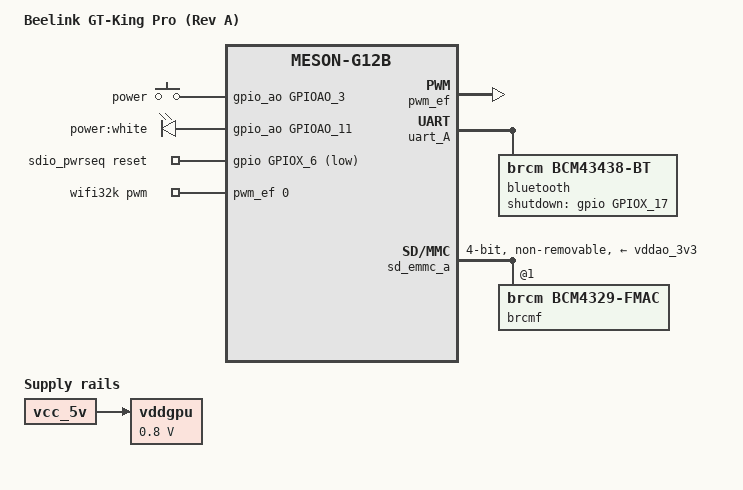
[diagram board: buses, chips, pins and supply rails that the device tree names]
// SPDX-License-Identifier: (GPL-2.0+ OR MIT)
/*
 * Copyright (c) 2019 BayLibre, SAS
 * Author: Neil Armstrong <narmstrong@baylibre.com>
 */

/dts-v1/;

/* 
 *  The Beelink GT-King Pro Rev A(HW Version: SA9H) is not base on w400 board, 
 *  but it is closer to the circuit design of Hardkernel ODroid N2
 */

#include "meson-g12b-s922x.dtsi"
#include "meson-g12b-odroid-n2.dtsi"

/ {
	compatible = "azw,gtking", "amlogic,s922x", "amlogic,g12b";
	model = "Beelink GT-King Pro (Rev A)";

	gpio-keys-polled {
		compatible = "gpio-keys-polled";
		#address-cells = <1>;
		#size-cells = <0>;
		poll-interval = <100>;

		power-button {
			label = "power";
			linux,code = <KEY_POWER>;
			/* Just for test, because i don't konwn the turely GPIO of the REV A board */
			gpios = <&gpio_ao GPIOAO_3 GPIO_ACTIVE_HIGH>;
		};
	};

	leds {
		compatible = "gpio-leds";

		/delete-node/ led-blue;
		led-white {
			label = "power:white";
			gpios = <&gpio_ao GPIOAO_11 GPIO_ACTIVE_HIGH>;
			default-state = "on";
		};
	};

	sound {
		model = "GTKINGPRO";
	};

	/delete-node/ gpio-regulator-tf_io;

	sdio_pwrseq: sdio-pwrseq {
		compatible = "mmc-pwrseq-simple";
		reset-gpios = <&gpio GPIOX_6 GPIO_ACTIVE_LOW>;
		clocks = <&wifi32k>;
		clock-names = "ext_clock";
	};

	wifi32k: wifi32k {
		compatible = "pwm-clock";
		#clock-cells = <0>;
		clock-frequency = <32768>;
		pwms = <&pwm_ef 0 30518 0>; /* PWM_E at 32.768KHz */
	};

        vddgpu: regulator-vddgpu {
                compatible = "regulator-fixed";
                regulator-name = "mali";
                regulator-min-microvolt = <800000>;
                regulator-max-microvolt = <800000>;
                vin-supply = <&vcc_5v>;
                regulator-boot-on;
                regulator-always-on;
        };
};

&mali {
        mali-supply=<&vddgpu>;
};

&pwm_ef {
	pinctrl-0 = <&pwm_e_pins>;
	pinctrl-names = "default";
	clocks = <&xtal>;
	clock-names = "clkin0";
	status = "okay";
};

&uart_A {
	status = "okay";
	pinctrl-0 = <&uart_a_pins>, <&uart_a_cts_rts_pins>;
	pinctrl-names = "default";
	uart-has-rtscts;

	bluetooth {
		compatible = "brcm,bcm43438-bt";
		shutdown-gpios = <&gpio GPIOX_17 GPIO_ACTIVE_HIGH>;
		max-speed = <2000000>;
		clocks = <&wifi32k>;
		clock-names = "lpo";
	};
};

/* SDIO */
&sd_emmc_a {
	status = "okay";
	pinctrl-0 = <&sdio_pins>;
	pinctrl-1 = <&sdio_clk_gate_pins>;
	pinctrl-names = "default", "clk-gate";
	#address-cells = <1>;
	#size-cells = <0>;

	bus-width = <4>;
	cap-sd-highspeed;
        sd-uhs-sdr50;
	max-frequency = <100000000>;

	/* WiFi firmware requires power to be kept while in suspend */
	keep-power-in-suspend;

	non-removable;
	disable-wp;

	mmc-pwrseq = <&sdio_pwrseq>;

	vmmc-supply = <&vddao_3v3>;
	vqmmc-supply = <&vddao_1v8>;

	brcmf: wifi@1 {
		reg = <1>;
		compatible = "brcm,bcm4329-fmac";
	};
};

/* SD card */
&sd_emmc_b {
	max-frequency = <50000000>;
	cap-sd-highspeed;
	/delete-property/ sd-uhs-sdr12;
	/delete-property/ sd-uhs-sdr25;
	/delete-property/ sd-uhs-sdr50;
	/delete-property/ sd-uhs-sdr104;

	vqmmc-supply = <&tflash_vdd>;

};
